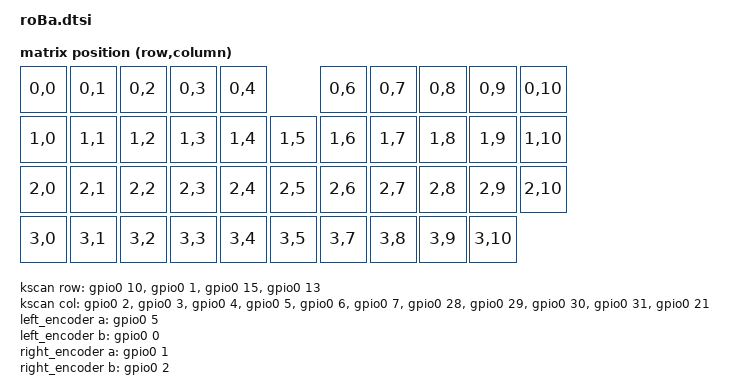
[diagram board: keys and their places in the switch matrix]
#include <dt-bindings/zmk/matrix_transform.h>

/ {
    chosen {
        zmk,kscan = &kscan;
        zmk,matrix_transform = &default_transform;
    };

    default_transform: keymap_transform_0 {
        compatible = "zmk,matrix-transform";
        columns = <11>;
        rows = ;
        map = <
            RC(0,0) RC(0,1) RC(0,2) RC(0,3) RC(0,4)           RC(0,6) RC(0,7) RC(0,8) RC(0,9) RC(0,10)
            RC(1,0) RC(1,1) RC(1,2) RC(1,3) RC(1,4) RC(1,5)   RC(1,6) RC(1,7) RC(1,8) RC(1,9) RC(1,10)
            RC(2,0) RC(2,1) RC(2,2) RC(2,3) RC(2,4) RC(2,5)   RC(2,6) RC(2,7) RC(2,8) RC(2,9) RC(2,10)
            RC(3,0) RC(3,1) RC(3,2) RC(3,3) RC(3,4) RC(3,5)   RC(3,7) RC(3,8) RC(3,9) RC(3,10)
        >;
    };

    kscan: kscan {
        compatible = "zmk,kscan-gpio-matrix";
        label = "KSCAN";

        // TODO: ご自身のキーボードの配線に合わせて、正しいピン番号に書き換えてください。
        row-gpios
            = <&gpio0 10 (GPIO_ACTIVE_HIGH | GPIO_PULL_DOWN)>,
              <&gpio0 1  (GPIO_ACTIVE_HIGH | GPIO_PULL_DOWN)>,
              <&gpio0 15 (GPIO_ACTIVE_HIGH | GPIO_PULL_DOWN)>,
              <&gpio0 13 (GPIO_ACTIVE_HIGH | GPIO_PULL_DOWN)>
            ;

        // TODO: ご自身のキーボードの配線に合わせて、正しいピン番号に書き換えてください。
        col-gpios
            = <&gpio0 2>,
              <&gpio0 3>,
              <&gpio0 4>,
              <&gpio0 5>,
              <&gpio0 6>,
              <&gpio0 7>,
              <&gpio0 28>,
              <&gpio0 29>,
              <&gpio0 30>,
              <&gpio0 31>,
              <&gpio0 21>
            ;
    };

    left_encoder: encoder_left {
        compatible = "alps,ec11";
        a-gpios = <&gpio0 5 (GPIO_ACTIVE_HIGH | GPIO_PULL_UP)>;
        b-gpios = <&gpio0 0 (GPIO_ACTIVE_HIGH | GPIO_PULL_UP)>;
        steps-per-period = ;
        status = "disabled";
    };

    right_encoder: encoder_right {
        compatible = "alps,ec11";
        a-gpios = <&gpio0 1 (GPIO_ACTIVE_HIGH | GPIO_PULL_UP)>; // 仮のピン
        b-gpios = <&gpio0 2 (GPIO_ACTIVE_HIGH | GPIO_PULL_UP)>; // 仮のピン
        steps-per-period = ;
        status = "disabled";
    };
};

// &spi0 は seeeduino_xiao_ble.dts で定義済みです
&spi0 {
    status = "okay";

    trackball: trackball@0 {
        compatible = "pixart,pmw3610";
        reg = <0>;
        spi-max-frequency = <2000000>;
        // ★★★ この行が右手側のエラーを解決します ★★★
        // TODO: トラックボールのCSピンが接続されているピン番号(ここでは仮に17)に修正してください。
        cs-gpios = <&gpio0 17 (GPIO_ACTIVE_LOW)>;
    };
};
